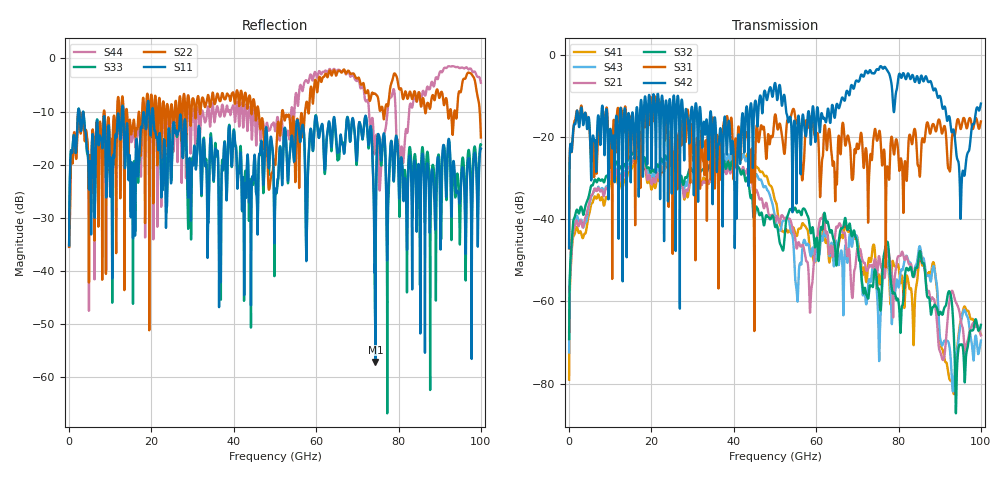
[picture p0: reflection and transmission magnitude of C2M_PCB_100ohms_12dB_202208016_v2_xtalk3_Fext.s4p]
! Info: Touchstone file created by Circ.  Input file=Intel_C2M_200G_2p5in_202208016_staggered.circ
# Hz S RI R 50
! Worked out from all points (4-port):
!   10000 points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, 10 MHz to 100 GHz, reference 50 ohm
!   strongest paths, dB at 10 MHz, 25.01 GHz, 50.01 GHz, 75.01 GHz, 100 GHz:
!     S42: -47.0, -23.5, -6.9, -3.6, -11.9
!     S31: -47.1, -23.1, -14.6, -20.3, -16.2
!     S32: -69.2, -25.4, -41.8, -57.0, -65.7
!     S21: -67.5, -27.3, -40.8, -51.1, -68.3
!     S43: -72.4, -25.8, -39.5, -62.5, -69.5
!     S41: -79.0, -27.4, -35.4, -54.3, -68.1
!   lowest |S11| = -57.2 dB at 74.38 GHz (marker M1), VSWR 1.00, Z = 50 - j0.137 ohm
!   |S11| at or under -10 dB: 2.472 GHz to 12.83 GHz (10.35 GHz wide, 135 % of centre); 13.15 GHz to 18.94 GHz (5.784 GHz wide, 36 % of centre); 20.41 GHz to end of sweep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
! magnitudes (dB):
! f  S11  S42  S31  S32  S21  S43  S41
! 10 MHz  -35.2  -47.0  -47.1  -69.2  -67.5  -72.4  -79.0
! 1.44 GHz  -16.5  -16.9  -15.9  -39.2  -41.4  -41.6  -43.4
! 16.92 GHz  -19.2  -34.5  -18.8  -22.8  -24.5  -24.0  -25.5
! 40.42 GHz  -16.7  -31.2  -20.4  -26.7  -27.4  -23.9  -25.0
! 74.38 GHz  -57.2  -4.1  -18.2  -52.4  -50.0  -52.6  -49.9
! 95.25 GHz  -22.4  -33.5  -17.7  -70.5  -65.4  -64.5  -64.1
! 100 GHz  -16.9  -11.9  -16.2  -65.7  -68.3  -69.5  -68.1
